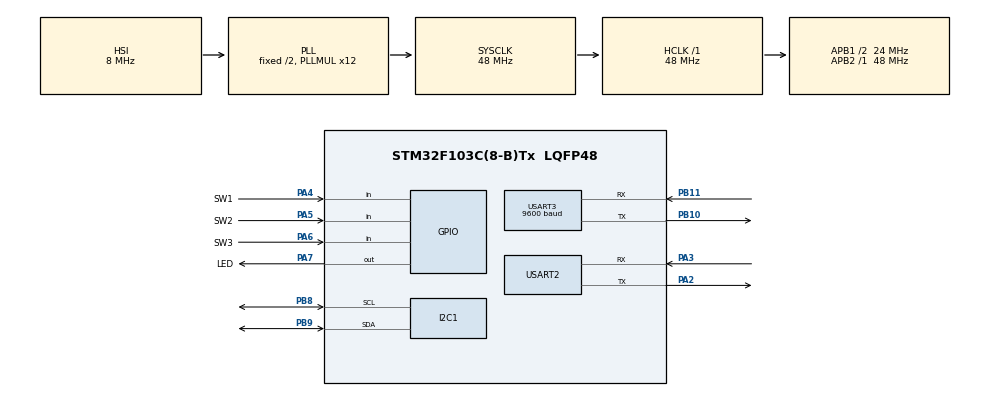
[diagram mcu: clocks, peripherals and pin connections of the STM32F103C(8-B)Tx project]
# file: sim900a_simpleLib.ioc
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Mcu.Family=STM32F1
NVIC.USART3_IRQn=true\:0\:0\:false\:true\:true\:1\:true\:true
Dma.USART3_RX.0.Instance=DMA1_Channel3
Dma.USART3_RX.0.PeriphInc=DMA_PINC_DISABLE
PB10.Mode=Asynchronous
PA6.GPIO_Label=SW3
PB11.GPIO_PuPd=GPIO_PULLUP
RCC.APB1CLKDivider=RCC_HCLK_DIV2
PB11.Signal=USART3_RX
NVIC.USART2_IRQn=true\:0\:0\:false\:false\:true\:true\:true
RCC.SYSCLKSource=RCC_SYSCLKSOURCE_PLLCLK
ProjectManager.StackSize=0x2000
Dma.USART3_RX.0.Mode=DMA_NORMAL
NVIC.DMA1_Channel3_IRQn=true\:0\:0\:false\:false\:true\:false\:true
PA13.Signal=SYS_JTMS-SWDIO
PA3.Mode=Asynchronous
USART3.BaudRate=9600
PB11.Mode=Asynchronous
ProjectManager.TargetToolchain=STM32CubeIDE
RCC.HCLKFreq_Value=48000000
PB9.Mode=I2C
RCC.APB2TimFreq_Value=48000000
TIM3.Period=199
RCC.USBFreq_Value=48000000
RCC.AHBFreq_Value=48000000
PB10.Signal=USART3_TX
PA5.Signal=GPIO_Input
Dma.USART3_RX.0.MemDataAlignment=DMA_MDATAALIGN_BYTE
PA4.GPIO_PuPd=GPIO_PULLUP
board=custom
RCC.PLLMUL=RCC_PLL_MUL12
NVIC.TIM3_IRQn=true\:0\:0\:false\:false\:true\:true\:true
RCC.APB2Freq_Value=48000000
PA6.GPIO_PuPd=GPIO_PULLUP
PA14.Mode=Serial_Wire
TIM3.Prescaler=47999
PA5.GPIO_PuPd=GPIO_PULLUP
Dma.USART3_RX.0.PeriphDataAlignment=DMA_PDATAALIGN_BYTE
PA13.Mode=Serial_Wire
Mcu.Name=STM32F103C(8-B)Tx
PA2.Signal=USART2_TX
PA4.Signal=GPIO_Input
RCC.SYSCLKFreq_VALUE=48000000
Dma.USART3_RX.0.Direction=DMA_PERIPH_TO_MEMORY
Mcu.Package=LQFP48
PB9.Signal=I2C1_SDA
Dma.USART3_RX.0.Priority=DMA_PRIORITY_HIGH
PA6.Signal=GPIO_Input
PA7.GPIO_Label=LED
PA5.GPIO_Label=SW2
USART2.VirtualMode=VM_ASYNC
USART3.VirtualMode=VM_ASYNC
PA14.Signal=SYS_JTCK-SWCLK
ProjectManager.HeapSize=0x1000
Dma.USART3_RX.0.MemInc=DMA_MINC_ENABLE
NVIC.PriorityGroup=NVIC_PRIORITYGROUP_4
PB8.Mode=I2C
RCC.APB1TimFreq_Value=48000000
PA2.Mode=Asynchronous
PB8.Signal=I2C1_SCL
Dma.Request0=USART3_RX
RCC.APB1Freq_Value=24000000
PA4.GPIO_Label=SW1
VP_TIM3_VS_ClockSourceINT.Mode=Internal
PA3.Signal=USART2_RX
PA7.Signal=GPIO_Output

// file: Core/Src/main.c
/* USER CODE BEGIN Header */
/*
 * Grzegorz --- 2021
 * grupa 2, sekcja 3
 *
 * Projekt obejmuje stworzenie biblioteki do obsługi modemu SIM900.
 *
 * Example1:
 * Po naciśnięciu przycisku SW3 wysyłane są wartości kanałów A i B,
 * które można modyfikować za pomocą przycisków 1,2 lub za pomocą komendy SMS : A=x B=x
 */
/* USER CODE END Header */
#include "main.h"

/* USER CODE BEGIN Includes */
//Library
#include "sim900a.h"
//Test program
#include "ssd1306.h"
#include <stdio.h>
#include <string.h>
#include <stdlib.h>
/* USER CODE END Includes */

/* USER CODE BEGIN PD */
#define TESTINGNUMBER "" //ToDo: Numer do wysyłania testowych wiadomości
/* USER CODE END PD */

I2C_HandleTypeDef hi2c1;

TIM_HandleTypeDef htim3;

UART_HandleTypeDef huart2;
UART_HandleTypeDef huart3;
DMA_HandleTypeDef hdma_usart3_rx;

/* USER CODE BEGIN PV */
uint8_t sim900_uartbuffer[SIM900_UARTLENGTH];

uint8_t polltime;
uint8_t channelA, channelB;
uint8_t screenfreeze = 0;
/* USER CODE END PV */

void SystemClock_Config(void);
static void MX_GPIO_Init(void);
static void MX_DMA_Init(void);
static void MX_USART3_UART_Init(void);
static void MX_I2C1_Init(void);
static void MX_USART2_UART_Init(void);
static void MX_TIM3_Init(void);
static void MX_NVIC_Init(void);
/* USER CODE BEGIN PFP */
void callHandler(char* callingNumber, uint8_t rings);
void smsHandler(char* messagingNumber, char* text);
/* USER CODE END PFP */

/* USER CODE BEGIN 0 */
int __io_putchar(int ch)
{
	HAL_UART_Transmit(&huart2,(uint8_t *)&ch,1,HAL_MAX_DELAY);

	return ch;
}

void HAL_TIM_PeriodElapsedCallback(TIM_HandleTypeDef *htim){
	polltime++;
}

void HAL_UARTEx_RxEventCallback(UART_HandleTypeDef *huart, uint16_t Size)
{
    if(huart->Instance == USART3)
    {
    	sim900_parseReply(sim900_uartbuffer,Size);
    	HAL_GPIO_WritePin(LED_GPIO_Port, LED_Pin, 0);
    	HAL_UARTEx_ReceiveToIdle_DMA(&huart3, sim900_uartbuffer, SIM900_UARTLENGTH);
    	huart->hdmarx->Instance->CCR &= ~DMA_CCR_HTIE; // Disable DMA Half Complete interrupt
    }
}

void callHandler(char* callingNumber, uint8_t rings){
	ssd1306_Fill(Black);
	ssd1306_SetCursor(0, 0);
	ssd1306_WriteString("Calling!", Font_7x10, White);
	ssd1306_SetCursor(0, 16);
	ssd1306_WriteString(callingNumber, Font_7x10, White);
	ssd1306_UpdateScreen();
	HAL_Delay(500);

}
void smsHandler(char* messagingNumber, char* text){
	//Display only
	ssd1306_Fill(Black);
	ssd1306_SetCursor(0, 0);
	ssd1306_WriteString(messagingNumber, Font_7x10, White);
	ssd1306_SetCursor(0, 16);
	ssd1306_WriteString(text, Font_7x10, White);
	ssd1306_UpdateScreen();
	HAL_Delay(500);

	//Channel logic
	if (strncmp(text, "A=", 2) == 0) {
		channelA = atoi(text + 2);
	}

	if (strncmp(text, "B=", 2) == 0) {
		channelB = atoi(text + 2);
	}
}
void gprsHandler(char* reply){
	//Display only
	ssd1306_Fill(Black);
	ssd1306_SetCursor(0, 0);
	ssd1306_WriteString(reply, Font_7x10, White);
	ssd1306_UpdateScreen();
	screenfreeze = 50;

}
/* USER CODE END 0 */

int main(void)
{

  /* MCU Configuration--------------------------------------------------------*/

  /* Reset of all peripherals, Initializes the Flash interface and the Systick. */
  HAL_Init();

  /* Configure the system clock */
  SystemClock_Config();

  /* Initialize all configured peripherals */
  MX_GPIO_Init();
  MX_DMA_Init();
  MX_USART3_UART_Init();
  MX_I2C1_Init();
  MX_USART2_UART_Init();
  MX_TIM3_Init();

  /* Initialize interrupts */
  MX_NVIC_Init();
  /* USER CODE BEGIN 2 */
  /* Library init start */
  HAL_UARTEx_ReceiveToIdle_DMA(&huart3, sim900_uartbuffer, SIM900_UARTLENGTH);
  sim900_init(&callHandler , &smsHandler);
  sim900_setAPN("internet"); //play polska
  /* Library init end */

  HAL_TIM_Base_Start_IT(&htim3);

  ssd1306_Init();
  ssd1306_SetCursor(0,0);
  ssd1306_WriteString("SIM900A Lib", Font_11x18, White);
  ssd1306_SetCursor(0, 16);
  ssd1306_WriteString("Test demo", Font_7x10, White);
  ssd1306_UpdateScreen();

  HAL_Delay(1000);

  printf("Restart \n");
  /* USER CODE END 2 */

  /* Infinite loop */
  while (1)
  {

    /* USER CODE BEGIN 3 */
	  HAL_Delay(100); //W celu uproszczenia obsługi

	  //Poll every n ms
	  if(polltime > 2){
		  HAL_GPIO_WritePin(LED_GPIO_Port, LED_Pin, 1);
		  sim900_poll();
		  polltime = 0;
	  }

	  char text[40];

	  //Button handler
	  if(HAL_GPIO_ReadPin(SW1_GPIO_Port, SW1_Pin) == 0){
		  channelA ++;
	  }
	  if(HAL_GPIO_ReadPin(SW2_GPIO_Port, SW2_Pin) == 0){
		  channelB ++;
	  }
	  if(HAL_GPIO_ReadPin(SW3_GPIO_Port, SW3_Pin) == 0){
		  snprintf(text,40,"INFO: A:%d B:%d ",channelA, channelB);
		  ssd1306_Fill(Black);
		  ssd1306_SetCursor(0, 0);
		  ssd1306_WriteString("SMS Transmit", Font_11x18, White);
		  ssd1306_UpdateScreen();
		  //sim900_sendSMS(TESTINGNUMBER, text);
		  sim900_getGPRS("", &gprsHandler);
		  HAL_Delay(1000);

	  }

	  //Display modem parameters
	  Sim900Struct *ModemParameters ;
	  sim900_getAllParameters(&ModemParameters);

	  //Clear screen
	  ssd1306_Fill(Black);
	  //Display signal strength and register status
	  snprintf(text, 2, "%d", ModemParameters->simRegistered); //Regiser status code
	  ssd1306_SetCursor(112, 0);
	  ssd1306_WriteString(text, Font_7x10, White);
	  if(ModemParameters->signalStrength)ssd1306_DrawRectangle(120, 8, 120, 10, White);
	  if(ModemParameters->signalStrength)ssd1306_DrawRectangle(122, 6, 122, 10, White);
	  if(ModemParameters->signalStrength)ssd1306_DrawRectangle(124, 4, 124, 10, White);
	  if(ModemParameters->signalStrength)ssd1306_DrawRectangle(126, 2, 126, 10, White);

	  snprintf(text,20,"A:%d B:%d   ",channelA, channelB);
	  ssd1306_SetCursor(0, 16);
	  ssd1306_WriteString(text, Font_7x10, White);
	  if(screenfreeze == 0)ssd1306_UpdateScreen();
	  else screenfreeze--;

  }
  /* USER CODE END 3 */
}

void SystemClock_Config(void)
{
  RCC_OscInitTypeDef RCC_OscInitStruct = {0};
  RCC_ClkInitTypeDef RCC_ClkInitStruct = {0};

  /** Initializes the RCC Oscillators according to the specified parameters
  * in the RCC_OscInitTypeDef structure.
  */
  RCC_OscInitStruct.OscillatorType = RCC_OSCILLATORTYPE_HSI;
  RCC_OscInitStruct.HSIState = RCC_HSI_ON;
  RCC_OscInitStruct.HSICalibrationValue = RCC_HSICALIBRATION_DEFAULT;
  RCC_OscInitStruct.PLL.PLLState = RCC_PLL_ON;
  RCC_OscInitStruct.PLL.PLLSource = RCC_PLLSOURCE_HSI_DIV2;
  RCC_OscInitStruct.PLL.PLLMUL = RCC_PLL_MUL12;
  if (HAL_RCC_OscConfig(&RCC_OscInitStruct) != HAL_OK)
  {
    Error_Handler();
  }
  /** Initializes the CPU, AHB and APB buses clocks
  */
  RCC_ClkInitStruct.ClockType = RCC_CLOCKTYPE_HCLK|RCC_CLOCKTYPE_SYSCLK
                              |RCC_CLOCKTYPE_PCLK1|RCC_CLOCKTYPE_PCLK2;
  RCC_ClkInitStruct.SYSCLKSource = RCC_SYSCLKSOURCE_PLLCLK;
  RCC_ClkInitStruct.AHBCLKDivider = RCC_SYSCLK_DIV1;
  RCC_ClkInitStruct.APB1CLKDivider = RCC_HCLK_DIV2;
  RCC_ClkInitStruct.APB2CLKDivider = RCC_HCLK_DIV1;

  if (HAL_RCC_ClockConfig(&RCC_ClkInitStruct, FLASH_LATENCY_1) != HAL_OK)
  {
    Error_Handler();
  }
}

/**
  * @brief NVIC Configuration.
  * @retval None
  */
static void MX_NVIC_Init(void)
{
  /* USART3_IRQn interrupt configuration */
  HAL_NVIC_SetPriority(USART3_IRQn, 0, 0);
  HAL_NVIC_EnableIRQ(USART3_IRQn);
}

static void MX_I2C1_Init(void)
{

  hi2c1.Instance = I2C1;
  hi2c1.Init.ClockSpeed = 100000;
  hi2c1.Init.DutyCycle = I2C_DUTYCYCLE_2;
  hi2c1.Init.OwnAddress1 = 0;
  hi2c1.Init.AddressingMode = I2C_ADDRESSINGMODE_7BIT;
  hi2c1.Init.DualAddressMode = I2C_DUALADDRESS_DISABLE;
  hi2c1.Init.OwnAddress2 = 0;
  hi2c1.Init.GeneralCallMode = I2C_GENERALCALL_DISABLE;
  hi2c1.Init.NoStretchMode = I2C_NOSTRETCH_DISABLE;
  if (HAL_I2C_Init(&hi2c1) != HAL_OK)
  {
    Error_Handler();
  }

}

static void MX_TIM3_Init(void)
{

  TIM_ClockConfigTypeDef sClockSourceConfig = {0};
  TIM_MasterConfigTypeDef sMasterConfig = {0};

  htim3.Instance = TIM3;
  htim3.Init.Prescaler = 47999;
  htim3.Init.CounterMode = TIM_COUNTERMODE_UP;
  htim3.Init.Period = 199;
  htim3.Init.ClockDivision = TIM_CLOCKDIVISION_DIV1;
  htim3.Init.AutoReloadPreload = TIM_AUTORELOAD_PRELOAD_DISABLE;
  if (HAL_TIM_Base_Init(&htim3) != HAL_OK)
  {
    Error_Handler();
  }
  sClockSourceConfig.ClockSource = TIM_CLOCKSOURCE_INTERNAL;
  if (HAL_TIM_ConfigClockSource(&htim3, &sClockSourceConfig) != HAL_OK)
  {
    Error_Handler();
  }
  sMasterConfig.MasterOutputTrigger = TIM_TRGO_RESET;
  sMasterConfig.MasterSlaveMode = TIM_MASTERSLAVEMODE_DISABLE;
  if (HAL_TIMEx_MasterConfigSynchronization(&htim3, &sMasterConfig) != HAL_OK)
  {
    Error_Handler();
  }

}

static void MX_USART2_UART_Init(void)
{

  huart2.Instance = USART2;
  huart2.Init.BaudRate = 115200;
  huart2.Init.WordLength = UART_WORDLENGTH_8B;
  huart2.Init.StopBits = UART_STOPBITS_1;
  huart2.Init.Parity = UART_PARITY_NONE;
  huart2.Init.Mode = UART_MODE_TX_RX;
  huart2.Init.HwFlowCtl = UART_HWCONTROL_NONE;
  huart2.Init.OverSampling = UART_OVERSAMPLING_16;
  if (HAL_UART_Init(&huart2) != HAL_OK)
  {
    Error_Handler();
  }

}

static void MX_USART3_UART_Init(void)
{

  huart3.Instance = USART3;
  huart3.Init.BaudRate = 9600;
  huart3.Init.WordLength = UART_WORDLENGTH_8B;
  huart3.Init.StopBits = UART_STOPBITS_1;
  huart3.Init.Parity = UART_PARITY_NONE;
  huart3.Init.Mode = UART_MODE_TX_RX;
  huart3.Init.HwFlowCtl = UART_HWCONTROL_NONE;
  huart3.Init.OverSampling = UART_OVERSAMPLING_16;
  if (HAL_UART_Init(&huart3) != HAL_OK)
  {
    Error_Handler();
  }

}

static void MX_DMA_Init(void)
{

  /* DMA controller clock enable */
  __HAL_RCC_DMA1_CLK_ENABLE();

  /* DMA interrupt init */
  /* DMA1_Channel3_IRQn interrupt configuration */
  HAL_NVIC_SetPriority(DMA1_Channel3_IRQn, 0, 0);
  HAL_NVIC_EnableIRQ(DMA1_Channel3_IRQn);

}

static void MX_GPIO_Init(void)
{
  GPIO_InitTypeDef GPIO_InitStruct = {0};

  /* GPIO Ports Clock Enable */
  __HAL_RCC_GPIOA_CLK_ENABLE();
  __HAL_RCC_GPIOB_CLK_ENABLE();

  /*Configure GPIO pin Output Level */
  HAL_GPIO_WritePin(LED_GPIO_Port, LED_Pin, GPIO_PIN_RESET);

  /*Configure GPIO pins : SW1_Pin SW2_Pin SW3_Pin */
  GPIO_InitStruct.Pin = SW1_Pin|SW2_Pin|SW3_Pin;
  GPIO_InitStruct.Mode = GPIO_MODE_INPUT;
  GPIO_InitStruct.Pull = GPIO_PULLUP;
  HAL_GPIO_Init(GPIOA, &GPIO_InitStruct);

  /*Configure GPIO pin : LED_Pin */
  GPIO_InitStruct.Pin = LED_Pin;
  GPIO_InitStruct.Mode = GPIO_MODE_OUTPUT_PP;
  GPIO_InitStruct.Pull = GPIO_NOPULL;
  GPIO_InitStruct.Speed = GPIO_SPEED_FREQ_LOW;
  HAL_GPIO_Init(LED_GPIO_Port, &GPIO_InitStruct);

}

void Error_Handler(void)
{
  __disable_irq();
  while (1)
  {
  }
}

/************************ (C) COPYRIGHT STMicroelectronics *****END OF FILE****/
